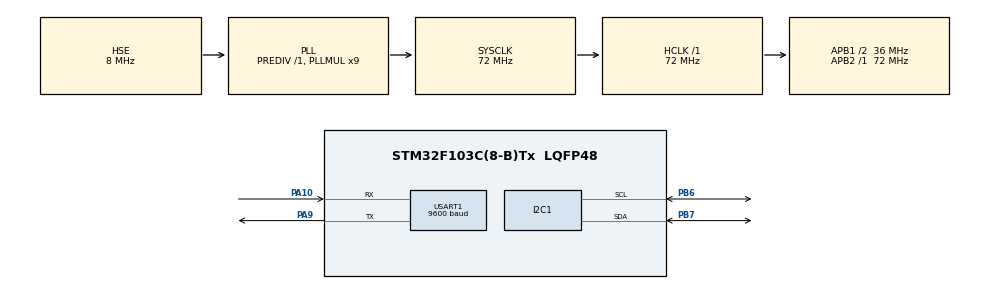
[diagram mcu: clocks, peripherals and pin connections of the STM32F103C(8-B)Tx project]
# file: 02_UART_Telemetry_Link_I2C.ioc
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Mcu.Family=STM32F1
Mcu.Name=STM32F103C(8-B)Tx
Mcu.Package=LQFP48
NVIC.PriorityGroup=NVIC_PRIORITYGROUP_4
PA10.Mode=Asynchronous
PA10.Signal=USART1_RX
PA9.Mode=Asynchronous
PA9.Signal=USART1_TX
PB6.Mode=I2C
PB6.Signal=I2C1_SCL
PB7.Mode=I2C
PB7.Signal=I2C1_SDA
PD0-OSC_IN.Mode=HSE-External-Oscillator
PD0-OSC_IN.Signal=RCC_OSC_IN
PD1-OSC_OUT.Mode=HSE-External-Oscillator
PD1-OSC_OUT.Signal=RCC_OSC_OUT
ProjectManager.HeapSize=0x200
ProjectManager.StackSize=0x400
ProjectManager.TargetToolchain=STM32CubeIDE
RCC.AHBFreq_Value=72000000
RCC.APB1CLKDivider=RCC_HCLK_DIV2
RCC.APB1Freq_Value=36000000
RCC.APB1TimFreq_Value=72000000
RCC.APB2Freq_Value=72000000
RCC.APB2TimFreq_Value=72000000
RCC.HCLKFreq_Value=72000000
RCC.PLLMUL=RCC_PLL_MUL9
RCC.PLLSourceVirtual=RCC_PLLSOURCE_HSE
RCC.SYSCLKFreq_VALUE=72000000
RCC.SYSCLKSource=RCC_SYSCLKSOURCE_PLLCLK
RCC.USBFreq_Value=72000000
USART1.BaudRate=9600
USART1.VirtualMode=VM_ASYNC
VP_SYS_VS_ND.Mode=No_Debug
board=custom

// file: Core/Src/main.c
/* USER CODE BEGIN Header */
/**
  ******************************************************************************
  * @file           : main.c
  * @brief          : Main program body
  ******************************************************************************
  * @attention
  *
  * Copyright (c) 2026 STMicroelectronics.
  * All rights reserved.
  *
  * This software is licensed under terms that can be found in the LICENSE file
  * in the root directory of this software component.
  * If no LICENSE file comes with this software, it is provided AS-IS.
  *
  ******************************************************************************
  */
/* USER CODE END Header */
#include "main.h"
#include "i2c.h"
#include "usart.h"
#include "gpio.h"

/* USER CODE BEGIN Includes */
#include "stdio.h"
#include <string.h>
/* USER CODE END Includes */

/* USER CODE BEGIN PV */
#define MPU_ADDR        (0x68 << 1)
#define WHO_AM_I_REG    0x75
#define PWR_MGMT_1      0x6B
#define ACCEL_XOUT_H    0x3B

uint8_t imu_data[14];
int16_t ax, ay, az;
int16_t gx, gy, gz;

uint8_t who_am_i;
uint8_t data;

char uart_msg[150];
/* USER CODE END PV */

void SystemClock_Config(void);

int main(void)
{

  /* MCU Configuration--------------------------------------------------------*/

  /* Reset of all peripherals, Initializes the Flash interface and the Systick. */
  HAL_Init();

  /* Configure the system clock */
  SystemClock_Config();

  /* Initialize all configured peripherals */
  MX_GPIO_Init();
  MX_I2C1_Init();
  MX_USART1_UART_Init();
  /* USER CODE BEGIN 2 */
  uint8_t data;

  // Reset MPU6050
  data = 0x80;
  HAL_I2C_Mem_Write(&hi2c1,
                    MPU_ADDR,
                    0x6B,
                    I2C_MEMADD_SIZE_8BIT,
                    &data,
                    1,
                    100);

  HAL_Delay(200);
  data = 0x01;   // PLL clock
  HAL_I2C_Mem_Write(&hi2c1,
                    MPU_ADDR,
                    0x6B,
                    I2C_MEMADD_SIZE_8BIT,
                    &data,
                    1,
                    100);

  HAL_Delay(200);

  /* USER CODE END 2 */

  /* Infinite loop */
  while (1)
  {

    /* USER CODE BEGIN 3 */
	  HAL_I2C_Mem_Read(&hi2c1,
	                   MPU_ADDR,
	                   ACCEL_XOUT_H,
	                   I2C_MEMADD_SIZE_8BIT,
	                   imu_data,
	                   14,
	                   100);

	  ax = (int16_t)(imu_data[0] << 8 | imu_data[1]);
	  ay = (int16_t)(imu_data[2] << 8 | imu_data[3]);
	  az = (int16_t)(imu_data[4] << 8 | imu_data[5]);

	  float ax_g = ax / 16384.0f;
	  float ay_g = ay / 16384.0f;
	  float az_g = az / 16384.0f;

	  int len = sprintf(uart_msg,
	                    "<AX:%.2f,AY:%.2f,AZ:%.2f>",
	                    ax_g, ay_g, az_g);

	  uint8_t checksum = 0;
	  for(int i = 0; i < len; i++)
	  {
	      checksum ^= uart_msg[i];
	      //checksum ^= 0x01; // just for check that checksum works
	  }

	  sprintf(uart_msg + len,
	          "*%02X\r\n",
	          checksum);

	  int total_len = strlen(uart_msg);

	  for(int i = 0; i < total_len; i++)
	  {
	      uart_msg[i] ^= 0x55;
	  }

	  HAL_UART_Transmit(&huart1,
	                    (uint8_t*)uart_msg,
	                    total_len,
	                    100);

	  HAL_Delay(500);
  }
  /* USER CODE END 3 */
}

void SystemClock_Config(void)
{
  RCC_OscInitTypeDef RCC_OscInitStruct = {0};
  RCC_ClkInitTypeDef RCC_ClkInitStruct = {0};

  /** Initializes the RCC Oscillators according to the specified parameters
  * in the RCC_OscInitTypeDef structure.
  */
  RCC_OscInitStruct.OscillatorType = RCC_OSCILLATORTYPE_HSE;
  RCC_OscInitStruct.HSEState = RCC_HSE_ON;
  RCC_OscInitStruct.HSEPredivValue = RCC_HSE_PREDIV_DIV1;
  RCC_OscInitStruct.HSIState = RCC_HSI_ON;
  RCC_OscInitStruct.PLL.PLLState = RCC_PLL_ON;
  RCC_OscInitStruct.PLL.PLLSource = RCC_PLLSOURCE_HSE;
  RCC_OscInitStruct.PLL.PLLMUL = RCC_PLL_MUL9;
  if (HAL_RCC_OscConfig(&RCC_OscInitStruct) != HAL_OK)
  {
    Error_Handler();
  }

  /** Initializes the CPU, AHB and APB buses clocks
  */
  RCC_ClkInitStruct.ClockType = RCC_CLOCKTYPE_HCLK|RCC_CLOCKTYPE_SYSCLK
                              |RCC_CLOCKTYPE_PCLK1|RCC_CLOCKTYPE_PCLK2;
  RCC_ClkInitStruct.SYSCLKSource = RCC_SYSCLKSOURCE_PLLCLK;
  RCC_ClkInitStruct.AHBCLKDivider = RCC_SYSCLK_DIV1;
  RCC_ClkInitStruct.APB1CLKDivider = RCC_HCLK_DIV2;
  RCC_ClkInitStruct.APB2CLKDivider = RCC_HCLK_DIV1;

  if (HAL_RCC_ClockConfig(&RCC_ClkInitStruct, FLASH_LATENCY_2) != HAL_OK)
  {
    Error_Handler();
  }
}

void Error_Handler(void)
{
  __disable_irq();
  while (1)
  {
  }
}
